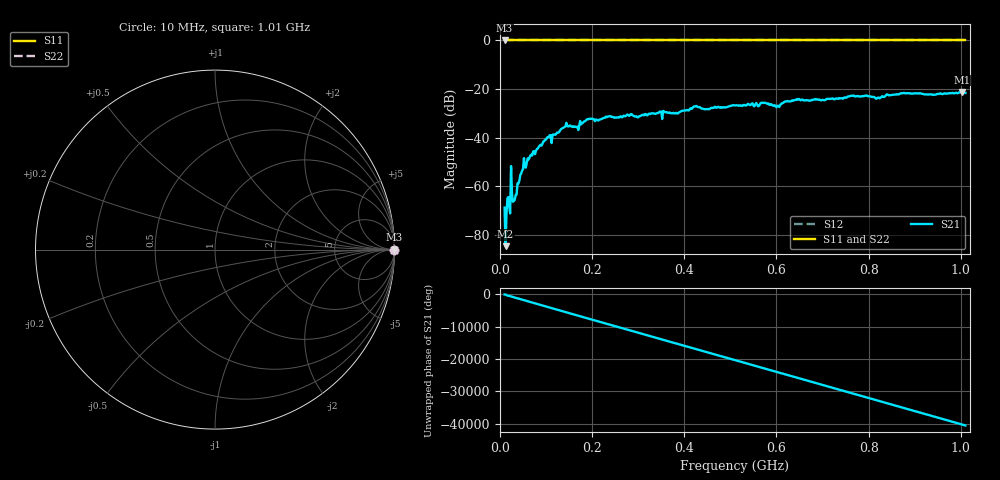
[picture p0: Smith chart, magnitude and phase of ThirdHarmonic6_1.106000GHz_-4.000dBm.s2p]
! 8/16/2025 10:27:38 AM
! C:\ANRITSUVNA\TEMP\TEMP.S2P
! CHANNEL.1
! TR.MEASUREMENT
! RAW.DATA
! RF.CORRECTION.OFF
! AVERAGING.OFF
! IF.BANDWIDTH: 5KHZ
! SWEEPTYPE:  FREQ.SWEEP(Linear)
! Reference Plane Port Info
! PORT:  PORT1  PORT2
! DISTANCE:  0  m  0  m
! TIME:  0  s  0  s
! PHASE.OFFSET:  0  deg.  0  deg.
! LOSS:  0  dB  0  dB
! REF.LOSS:  0  dB  0  dB
! REF.FREQ:  0  Hz  0  Hz
! Power Info
! POWER:  -20  dBm  -20  dBm
! EFF.POWER:  -20  dBm  -20  dBm
! SOURCE.ATTEN:  0  dB  0  dB
! TEST.ATTEN:  0  dB  0  dB
# GHZ S RI R 50.0
! FREQ.GHZ  S11RE  S11IM  S21RE  S21IM  S12RE  S12IM  S22RE  S22IM
!; PortSelection: Port_12
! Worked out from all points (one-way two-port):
!   501 points, 10 MHz to 1.01 GHz, reference 50 ohm
!   highest |S21| = -21.24 dB at 1.002 GHz (marker M1); lowest = -84.8 dB at 12 MHz (marker M2)
!   lowest |S11| = 0.0 dB at 10 MHz (marker M3)
!   |S11| at or under -10 dB: nowhere
!   |S22| runs from 0.0 to 0.0 dB; largest |S21 - S12| = 1.1
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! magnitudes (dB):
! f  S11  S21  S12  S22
! 10 MHz  0.0  -68.9  0.0  0.0
! 12 MHz  0.0  -84.8  0.0  0.0
! 16 MHz  0.0  -65.2  0.0  0.0
! 20 MHz  0.0  -68.4  0.0  0.0
! 28 MHz  0.0  -66.5  0.0  0.0
! 32 MHz  0.0  -65.7  0.0  0.0
! 48 MHz  0.0  -53.7  0.0  0.0
! 70 MHz  0.0  -47.4  0.0  0.0
! 106 MHz  0.0  -39.9  0.0  0.0
! 116 MHz  0.0  -38.7  0.0  0.0
! 140 MHz  0.0  -35.6  0.0  0.0
! 168 MHz  0.0  -35.5  0.0  0.0
! 178 MHz  0.0  -34.2  0.0  0.0
! 344 MHz  0.0  -29.9  0.0  0.0
! 510 MHz  0.0  -26.8  0.0  0.0
! 572 MHz  0.0  -25.8  0.0  0.0
! 602 MHz  0.0  -26.9  0.0  0.0
! 622 MHz  0.0  -25.1  0.0  0.0
! 678 MHz  0.0  -24.6  0.0  0.0
! 844 MHz  0.0  -22.6  0.0  0.0
! 1.002 GHz  0.0  -21.2  0.0  0.0
! 1.01 GHz  0.0  -21.6  0.0  0.0
